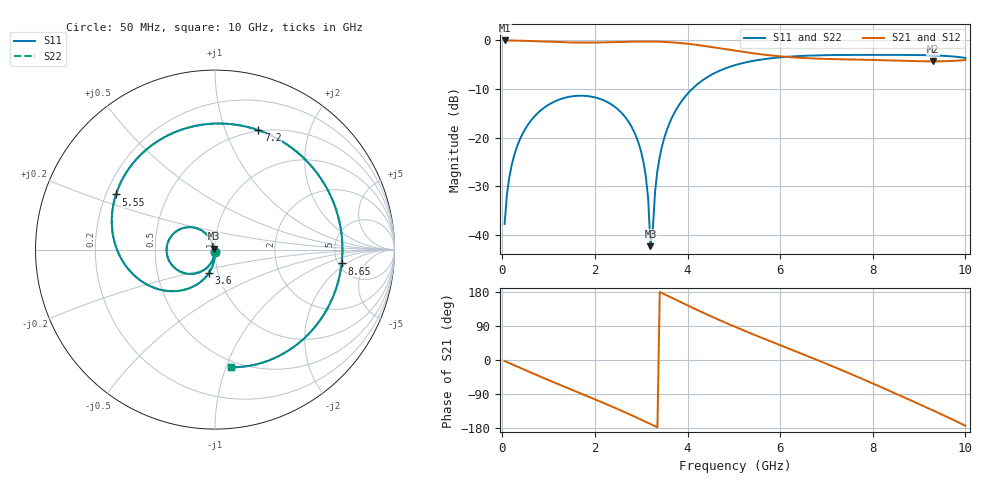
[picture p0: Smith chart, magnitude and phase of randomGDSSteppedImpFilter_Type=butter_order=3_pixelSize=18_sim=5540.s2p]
! freq	dB(S11)	phase(S11)	dB(S12)	phase(S12)
!  dB(S21)	phase(S21)	dB(S22)	phase(S22)
!S-par simulation data
#  GHz  S  DB  R 50
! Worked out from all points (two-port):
!   200 points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, 50 MHz to 10 GHz, reference 50 ohm
!   highest |S21| = 0.00 dB at 50 MHz (marker M1); lowest = -4.3 dB at 9.3 GHz (marker M2)
!   |S21| within 3 dB of the highest: start of sweep to 5.718 GHz
!   lowest |S11| = -42.4 dB at 3.2 GHz (marker M3), VSWR 1.02, Z = 49.5 + j0.554 ohm
!   |S11| at or under -10 dB: start of sweep to 4.098 GHz
!   |S22| runs from -42.0 to -3.0 dB; largest |S21 - S12| = 0
!   S11 on the Smith chart (normalised r, x): 50 MHz: 1.00, -0.03; 3.6 GHz: 0.90, -0.24; 5.55 GHz: 0.24, +0.25; 7.2 GHz: 0.49, +1.31; 8.65 GHz: 5.35, -1.67; 10 GHz: 0.45, -1.04
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0.05  -37.79 -92.5  -0.00 -2.7  -0.00 -2.7  -37.79 -92.5
0.2  -25.80 -100.9  -0.01 -10.8  -0.01 -10.8  -25.80 -100.9
0.5  -18.16 -117.1  -0.08 -26.9  -0.08 -26.9  -18.16 -117.1
1.15  -12.48 -151.3  -0.32 -60.8  -0.32 -60.8  -12.48 -151.2
1.75  -11.39 178.4  -0.44 -91.1  -0.44 -91.1  -11.39 178.4
2.4  -13.46 145.3  -0.35 -124.5  -0.35 -124.5  -13.46 145.4
2.85  -18.88 121.8  -0.24 -149.0  -0.24 -149.0  -18.88 122.1
3.1  -28.04 111.4  -0.22 -163.2  -0.22 -163.2  -28.03 112.2
3.15  -32.59 112.3  -0.22 -166.0  -0.22 -166.0  -32.55 113.8
3.2  -42.36 132.7  -0.22 -168.9  -0.22 -168.9  -41.99 136.6
3.3  -31.00 -93.7  -0.24 -174.8  -0.24 -174.8  -30.97 -95.0
3.4  -23.93 -95.0  -0.26 179.4  -0.26 179.4  -23.93 -95.6
3.6  -17.27 -104.9  -0.35 167.6  -0.35 167.6  -17.27 -105.2
4.3  -8.37 -144.3  -1.05 126.9  -1.05 126.9  -8.37 -144.5
5.05  -5.01 175.7  -2.15 86.3  -2.15 86.3  -5.01 175.7
5.55  -3.99 150.9  -2.81 61.1  -2.81 61.1  -3.99 150.8
6.7  -3.10 95.0  -3.71 4.9  -3.71 4.9  -3.10 94.9
7.2  -3.00 70.0  -3.86 -20.1  -3.86 -20.1  -3.00 70.0
8.35  -2.97 9.9  -4.10 -80.7  -4.10 -80.7  -2.97 9.9
8.65  -2.98 -6.3  -4.18 -97.1  -4.18 -97.1  -2.98 -6.3
9.3  -3.07 -41.9  -4.30 -133.0  -4.30 -133.0  -3.07 -41.9
10  -3.59 -82.3  -4.03 -173.5  -4.03 -173.5  -3.59 -82.3
